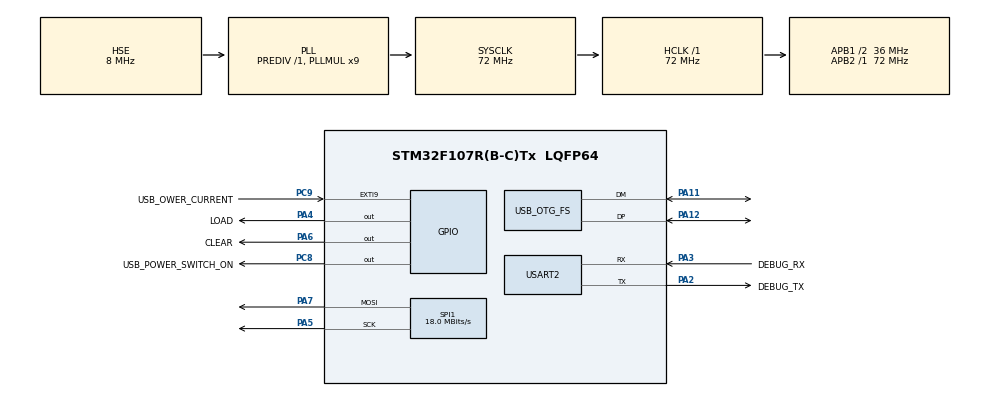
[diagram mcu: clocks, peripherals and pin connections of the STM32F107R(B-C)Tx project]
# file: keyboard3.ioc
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Mcu.Family=STM32F1
Mcu.Name=STM32F107R(B-C)Tx
Mcu.Package=LQFP64
NVIC.OTG_FS_IRQn=true\:0\:0\:false\:false\:true\:false\:true\:true
NVIC.PriorityGroup=NVIC_PRIORITYGROUP_4
PA11.Mode=Host_Only
PA11.Signal=USB_OTG_FS_DM
PA12.Mode=Host_Only
PA12.Signal=USB_OTG_FS_DP
PA13.Mode=Serial_Wire
PA13.Signal=SYS_JTMS-SWDIO
PA14.Mode=Serial_Wire
PA14.Signal=SYS_JTCK-SWCLK
PA2.GPIO_Label=DEBUG_TX
PA2.Mode=Asynchronous
PA2.Signal=USART2_TX
PA3.GPIO_Label=DEBUG_RX
PA3.Mode=Asynchronous
PA3.Signal=USART2_RX
PA4.GPIO_Label=LOAD
PA4.GPIO_Speed=GPIO_SPEED_FREQ_HIGH
PA4.Signal=GPIO_Output
PA5.Mode=TX_Only_Simplex_Unidirect_Master
PA5.Signal=SPI1_SCK
PA6.GPIO_Label=CLEAR
PA6.Signal=GPIO_Output
PA7.Mode=TX_Only_Simplex_Unidirect_Master
PA7.Signal=SPI1_MOSI
PC8.GPIO_Label=USB_POWER_SWITCH_ON
PC8.Signal=GPIO_Output
PC9.GPIO_Label=USB_OWER_CURRENT
PC9.GPIO_ModeDefaultEXTI=GPIO_MODE_IT_FALLING
PC9.GPIO_PuPd=GPIO_NOPULL
PC9.Signal=GPXTI9
PD0-OSC_IN.Mode=HSE-External-Oscillator
PD0-OSC_IN.Signal=RCC_OSC_IN
PD1-OSC_OUT.Mode=HSE-External-Oscillator
PD1-OSC_OUT.Signal=RCC_OSC_OUT
ProjectManager.HeapSize=0x200
ProjectManager.StackSize=0x400
ProjectManager.TargetToolchain=STM32CubeIDE
RCC.AHBFreq_Value=72000000
RCC.APB1CLKDivider=RCC_HCLK_DIV2
RCC.APB1Freq_Value=36000000
RCC.APB1TimFreq_Value=72000000
RCC.APB2Freq_Value=72000000
RCC.APB2TimFreq_Value=72000000
RCC.HCLKFreq_Value=72000000
RCC.MSIAutoCalibration=DISABLED
RCC.MSICalibrationValue=0
RCC.PLL2Mul=RCC_PLL2_MUL16
RCC.PLLMUL=RCC_PLL_MUL9
RCC.PLLSourceVirtual=RCC_PLLSOURCE_HSE
RCC.PWR_Regulator_Voltage_Scale=PWR_REGULATOR_VOLTAGE_SCALE1
RCC.SYSCLKFreq_VALUE=72000000
RCC.SYSCLKSource=RCC_SYSCLKSOURCE_PLLCLK
RCC.USBFreq_Value=48000000
SPI1.BaudRatePrescaler=SPI_BAUDRATEPRESCALER_4
SPI1.CalculateBaudRate=18.0 MBits/s
SPI1.Direction=SPI_DIRECTION_2LINES
SPI1.Mode=SPI_MODE_MASTER
SPI1.VirtualType=VM_MASTER
USART2.VirtualMode=VM_ASYNC
USB_HOST.BSP.number=1
USB_HOST.USBH_DEBUG_LEVEL=3
USB_HOST.USBH_HandleTypeDef=hUsbHostFS
USB_HOST.USBH_KEEP_CFG_DESCRIPTOR=0
USB_HOST.USBH_USE_OS-HID_FS=0
USB_HOST.VirtualModeFS=Hid
USB_HOST0.BSP.STBoard=false
USB_HOST0.BSP.api=Unknown
USB_HOST0.BSP.instance=PC8
USB_HOST0.BSP.ip=GPIO
USB_HOST0.BSP.mode=Output
USB_HOST0.BSP.name=Drive_VBUS_FS
USB_HOST0.BSP.solution=PC8
USB_OTG_FS.Sof_enable=ENABLE
USB_OTG_FS.VirtualMode=Host_Only
USB_OTG_FS.speed=HCD_SPEED_LOW
VP_USB_HOST_VS_USB_HOST_HID_FS.Mode=HID_FS
board=custom

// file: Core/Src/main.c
/* USER CODE BEGIN Header */
/**
  ******************************************************************************
  * @file           : main.c
  * @brief          : Main program body
  ******************************************************************************
  * @attention
  *
  * <h2><center>&copy; Copyright (c) 2021 STMicroelectronics.
  * All rights reserved.</center></h2>
  *
  * This software component is licensed by ST under BSD 3-Clause license,
  * the "License"; You may not use this file except in compliance with the
  * License. You may obtain a copy of the License at:
  *                        opensource.org/licenses/BSD-3-Clause
  *
  ******************************************************************************
  */
/* USER CODE END Header */
#include "main.h"
#include "usb_host.h"

/* USER CODE BEGIN Includes */
#include <stdio.h>
#include <ctype.h>
#include <string.h>
#include "uart_dbg.h"
#include "usbh_def.h"
#include "usbh_hid.h"
#include "zx_keyboard.h"
/* USER CODE END Includes */

SPI_HandleTypeDef hspi1;

UART_HandleTypeDef huart2;

void SystemClock_Config(void);
static void MX_GPIO_Init(void);
static void MX_USART2_UART_Init(void);
static void MX_SPI1_Init(void);
void MX_USB_HOST_Process(void);

/* USER CODE BEGIN 0 */
extern uint8_t zx_keyboards[256];
extern USBH_HandleTypeDef hUsbHostFS;
/* USER CODE END 0 */

int main(void)
{

  /* MCU Configuration--------------------------------------------------------*/

  /* Reset of all peripherals, Initializes the Flash interface and the Systick. */
  HAL_Init();

  /* Configure the system clock */
  SystemClock_Config();

  /* Initialize all configured peripherals */
  MX_GPIO_Init();
  MX_USART2_UART_Init();
  MX_USB_HOST_Init();
  MX_SPI1_Init();
  /* USER CODE BEGIN 2 */
  uart_dbg_init(&huart2);
  memset(zx_keyboards, KEYBIT_MASK, sizeof(zx_keyboards));
  printf("all initialized\n");
  set_keys_callback(&prepare_keys);
#if (MEASURE_RESPONSE_TIME == 1)
  HAL_GPIO_WritePin(USER_LED_GPIO_Port, USER_LED_Pin, GPIO_PIN_RESET);
#endif
  /* USER CODE END 2 */

  /* Infinite loop */
  /* USER CODE BEGIN WHILE */
  int usb_ctr = 0;
  for(;;) {
    /* USER CODE END WHILE */

    /* USER CODE BEGIN 3 */
#if (MEASURE_RESPONSE_TIME == 1)
    HAL_GPIO_TogglePin(USER_LED_GPIO_Port, USER_LED_Pin);
#endif
    if(0 == (usb_ctr++ % USB_INTERVAL))
      MX_USB_HOST_Process();
#ifndef FE_INTERRUPT
#endif
#if (MEASURE_RESPONSE_TIME == 1)
    HAL_GPIO_TogglePin(USER_LED_GPIO_Port, USER_LED_Pin);
#endif
  }
  /* USER CODE END 3 */
}

void SystemClock_Config(void)
{
  RCC_OscInitTypeDef RCC_OscInitStruct = {0};
  RCC_ClkInitTypeDef RCC_ClkInitStruct = {0};
  RCC_PeriphCLKInitTypeDef PeriphClkInit = {0};

  /** Initializes the RCC Oscillators according to the specified parameters
  * in the RCC_OscInitTypeDef structure.
  */
  RCC_OscInitStruct.OscillatorType = RCC_OSCILLATORTYPE_HSE;
  RCC_OscInitStruct.HSEState = RCC_HSE_ON;
  RCC_OscInitStruct.HSEPredivValue = RCC_HSE_PREDIV_DIV1;
  RCC_OscInitStruct.HSIState = RCC_HSI_ON;
  RCC_OscInitStruct.Prediv1Source = RCC_PREDIV1_SOURCE_HSE;
  RCC_OscInitStruct.PLL.PLLState = RCC_PLL_ON;
  RCC_OscInitStruct.PLL.PLLSource = RCC_PLLSOURCE_HSE;
  RCC_OscInitStruct.PLL.PLLMUL = RCC_PLL_MUL9;
  RCC_OscInitStruct.PLL2.PLL2State = RCC_PLL_NONE;
  if (HAL_RCC_OscConfig(&RCC_OscInitStruct) != HAL_OK)
  {
    Error_Handler();
  }

  /** Initializes the CPU, AHB and APB buses clocks
  */
  RCC_ClkInitStruct.ClockType = RCC_CLOCKTYPE_HCLK|RCC_CLOCKTYPE_SYSCLK
                              |RCC_CLOCKTYPE_PCLK1|RCC_CLOCKTYPE_PCLK2;
  RCC_ClkInitStruct.SYSCLKSource = RCC_SYSCLKSOURCE_PLLCLK;
  RCC_ClkInitStruct.AHBCLKDivider = RCC_SYSCLK_DIV1;
  RCC_ClkInitStruct.APB1CLKDivider = RCC_HCLK_DIV2;
  RCC_ClkInitStruct.APB2CLKDivider = RCC_HCLK_DIV1;

  if (HAL_RCC_ClockConfig(&RCC_ClkInitStruct, FLASH_LATENCY_2) != HAL_OK)
  {
    Error_Handler();
  }
  PeriphClkInit.PeriphClockSelection = RCC_PERIPHCLK_USB;
  PeriphClkInit.UsbClockSelection = RCC_USBCLKSOURCE_PLL_DIV3;
  if (HAL_RCCEx_PeriphCLKConfig(&PeriphClkInit) != HAL_OK)
  {
    Error_Handler();
  }

  /** Configure the Systick interrupt time
  */
  __HAL_RCC_PLLI2S_ENABLE();
}

static void MX_SPI1_Init(void)
{

  /* SPI1 parameter configuration*/
  hspi1.Instance = SPI1;
  hspi1.Init.Mode = SPI_MODE_MASTER;
  hspi1.Init.Direction = SPI_DIRECTION_2LINES;
  hspi1.Init.DataSize = SPI_DATASIZE_8BIT;
  hspi1.Init.CLKPolarity = SPI_POLARITY_LOW;
  hspi1.Init.CLKPhase = SPI_PHASE_1EDGE;
  hspi1.Init.NSS = SPI_NSS_SOFT;
  hspi1.Init.BaudRatePrescaler = SPI_BAUDRATEPRESCALER_4;
  hspi1.Init.FirstBit = SPI_FIRSTBIT_MSB;
  hspi1.Init.TIMode = SPI_TIMODE_DISABLE;
  hspi1.Init.CRCCalculation = SPI_CRCCALCULATION_DISABLE;
  hspi1.Init.CRCPolynomial = 10;
  if (HAL_SPI_Init(&hspi1) != HAL_OK)
  {
    Error_Handler();
  }

}

static void MX_USART2_UART_Init(void)
{

  huart2.Instance = USART2;
  huart2.Init.BaudRate = 115200;
  huart2.Init.WordLength = UART_WORDLENGTH_8B;
  huart2.Init.StopBits = UART_STOPBITS_1;
  huart2.Init.Parity = UART_PARITY_NONE;
  huart2.Init.Mode = UART_MODE_TX_RX;
  huart2.Init.HwFlowCtl = UART_HWCONTROL_NONE;
  huart2.Init.OverSampling = UART_OVERSAMPLING_16;
  if (HAL_UART_Init(&huart2) != HAL_OK)
  {
    Error_Handler();
  }

}

static void MX_GPIO_Init(void)
{
  GPIO_InitTypeDef GPIO_InitStruct = {0};

  /* GPIO Ports Clock Enable */
  __HAL_RCC_GPIOD_CLK_ENABLE();
  __HAL_RCC_GPIOA_CLK_ENABLE();
  __HAL_RCC_GPIOC_CLK_ENABLE();

  /*Configure GPIO pin Output Level */
  HAL_GPIO_WritePin(GPIOA, LOAD_Pin|CLEAR_Pin, GPIO_PIN_RESET);

  /*Configure GPIO pin Output Level */
  HAL_GPIO_WritePin(USB_POWER_SWITCH_ON_GPIO_Port, USB_POWER_SWITCH_ON_Pin, GPIO_PIN_RESET);

  /*Configure GPIO pin : LOAD_Pin */
  GPIO_InitStruct.Pin = LOAD_Pin;
  GPIO_InitStruct.Mode = GPIO_MODE_OUTPUT_PP;
  GPIO_InitStruct.Pull = GPIO_NOPULL;
  GPIO_InitStruct.Speed = GPIO_SPEED_FREQ_HIGH;
  HAL_GPIO_Init(LOAD_GPIO_Port, &GPIO_InitStruct);

  /*Configure GPIO pin : CLEAR_Pin */
  GPIO_InitStruct.Pin = CLEAR_Pin;
  GPIO_InitStruct.Mode = GPIO_MODE_OUTPUT_PP;
  GPIO_InitStruct.Pull = GPIO_NOPULL;
  GPIO_InitStruct.Speed = GPIO_SPEED_FREQ_LOW;
  HAL_GPIO_Init(CLEAR_GPIO_Port, &GPIO_InitStruct);

  /*Configure GPIO pin : USB_POWER_SWITCH_ON_Pin */
  GPIO_InitStruct.Pin = USB_POWER_SWITCH_ON_Pin;
  GPIO_InitStruct.Mode = GPIO_MODE_OUTPUT_PP;
  GPIO_InitStruct.Pull = GPIO_NOPULL;
  GPIO_InitStruct.Speed = GPIO_SPEED_FREQ_LOW;
  HAL_GPIO_Init(USB_POWER_SWITCH_ON_GPIO_Port, &GPIO_InitStruct);

  /*Configure GPIO pin : USB_OWER_CURRENT_Pin */
  GPIO_InitStruct.Pin = USB_OWER_CURRENT_Pin;
  GPIO_InitStruct.Mode = GPIO_MODE_IT_FALLING;
  GPIO_InitStruct.Pull = GPIO_NOPULL;
  HAL_GPIO_Init(USB_OWER_CURRENT_GPIO_Port, &GPIO_InitStruct);

}

/* USER CODE BEGIN 4 */
#ifdef FE_INTERRUPT
void HAL_GPIO_EXTI_Callback(uint16_t GPIO_Pin) {
}
#endif

#if 0

int __io_putchar(int ch) {
  ITM_SendChar(ch);
  return ch;
}

int __io_getchar(void) {
  return ITM_ReceiveChar();
}

#endif

/* USER CODE END 4 */

void Error_Handler(void)
{
  __disable_irq();
  while (1)
  {
  }
}
